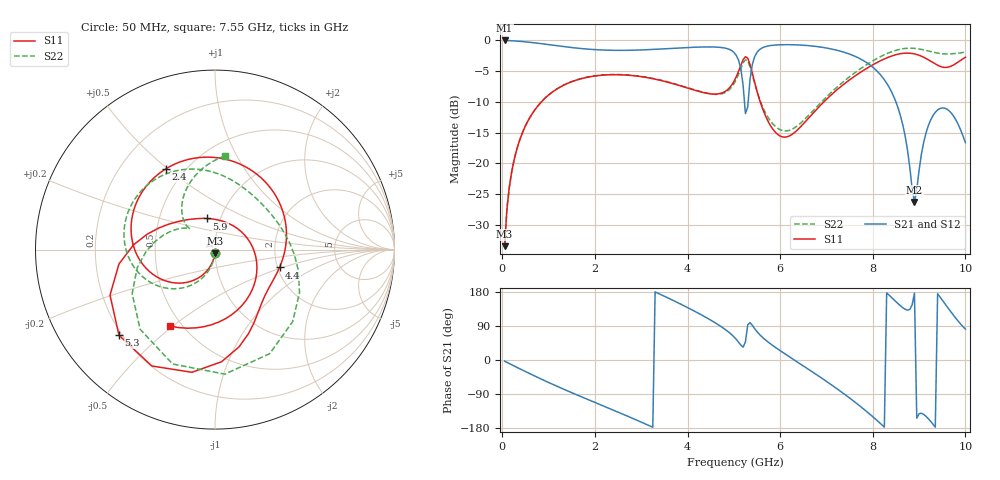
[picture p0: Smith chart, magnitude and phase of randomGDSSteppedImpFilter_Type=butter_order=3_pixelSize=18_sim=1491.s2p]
! freq	dB(S11)	phase(S11)	dB(S12)	phase(S12)
!  dB(S21)	phase(S21)	dB(S22)	phase(S22)
!S-par simulation data
#  GHz  S  DB  R 50
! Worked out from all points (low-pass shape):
!   200 points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, 50 MHz to 10 GHz, reference 50 ohm
!   highest |S21| = 0.00 dB at 50 MHz (marker M1); lowest = -26.3 dB at 8.9 GHz (marker M2)
!   |S21| within 3 dB of the highest: start of sweep to 5.089 GHz; 5.435 GHz to 7.733 GHz (2.298 GHz wide, 34.9 % of centre)
!   lowest |S11| = -33.4 dB at 50 MHz (marker M3), VSWR 1.04, Z = 49.8 - j2.12 ohm
!   |S11| at or under -10 dB: start of sweep to 842.4 MHz; 5.571 GHz to 6.942 GHz (1.371 GHz wide, 21.9 % of centre)
!   |S22| runs from -33.4 to -1.3 dB; largest |S21 - S12| = 0
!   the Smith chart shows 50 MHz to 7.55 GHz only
!   S11 on the Smith chart (normalised r, x): 50 MHz: 1.00, -0.04; 2.4 GHz: 0.39, +0.49; 4.4 GHz: 2.05, -0.47; 5.3 GHz: 0.19, -0.37; 5.9 GHz: 0.86, +0.31; 7.55 GHz: 0.43, -0.49
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0.05  -33.44 -93.3  -0.00 -3.1  -0.00 -3.1  -33.43 -92.8
0.2  -21.48 -103.8  -0.05 -12.4  -0.05 -12.4  -21.47 -101.6
0.5  -13.89 -123.7  -0.23 -30.5  -0.23 -30.5  -13.88 -118.4
1.75  -6.13 159.9  -1.35 -99.3  -1.35 -99.3  -6.11 -179.5
2.4  -5.57 121.5  -1.61 -132.4  -1.61 -132.4  -5.54 152.8
3.4  -6.46 57.3  -1.40 174.0  -1.40 174.0  -6.42 110.8
4.4  -8.57 -15.5  -1.06 112.3  -1.06 112.3  -8.54 61.2
5.05  -5.95 -68.3  -2.39 54.7  -2.39 54.7  -6.39 -14.1
5.2  -3.15 -100.7  -7.28 33.9  -7.28 33.9  -3.67 -62.3
5.3  -2.89 -138.2  -10.80 92.7  -10.80 92.7  -3.36 -110.3
5.5  -8.25 167.1  -1.93 74.9  -1.93 74.9  -8.31 -178.4
5.9  -14.95 104.3  -0.75 33.0  -0.75 33.0  -14.00 143.2
6.7  -11.91 -23.0  -0.91 -31.7  -0.91 -31.7  -11.50 133.3
7.55  -6.13 -120.3  -2.37 -104.9  -2.37 -104.9  -5.60 84.1
7.95  -4.18 -167.1  -4.05 -144.3  -4.05 -144.3  -3.55 50.3
8.35  -2.69 140.3  -7.57 171.3  -7.57 171.3  -2.00 9.0
8.65  -2.10 94.9  -13.78 137.9  -13.78 137.9  -1.35 -27.6
8.9  -2.19 51.7  -26.26 176.5  -26.26 176.5  -1.29 -61.1
9.2  -3.14 -9.6  -13.84 -155.0  -13.84 -155.0  -1.72 -102.4
9.5  -4.32 -87.3  -10.97 158.3  -10.97 158.3  -2.17 -142.2
9.75  -3.96 -158.7  -12.36 116.9  -12.36 116.9  -2.15 -174.2
10  -2.75 142.2  -16.60 81.6  -16.60 81.6  -1.91 154.6
